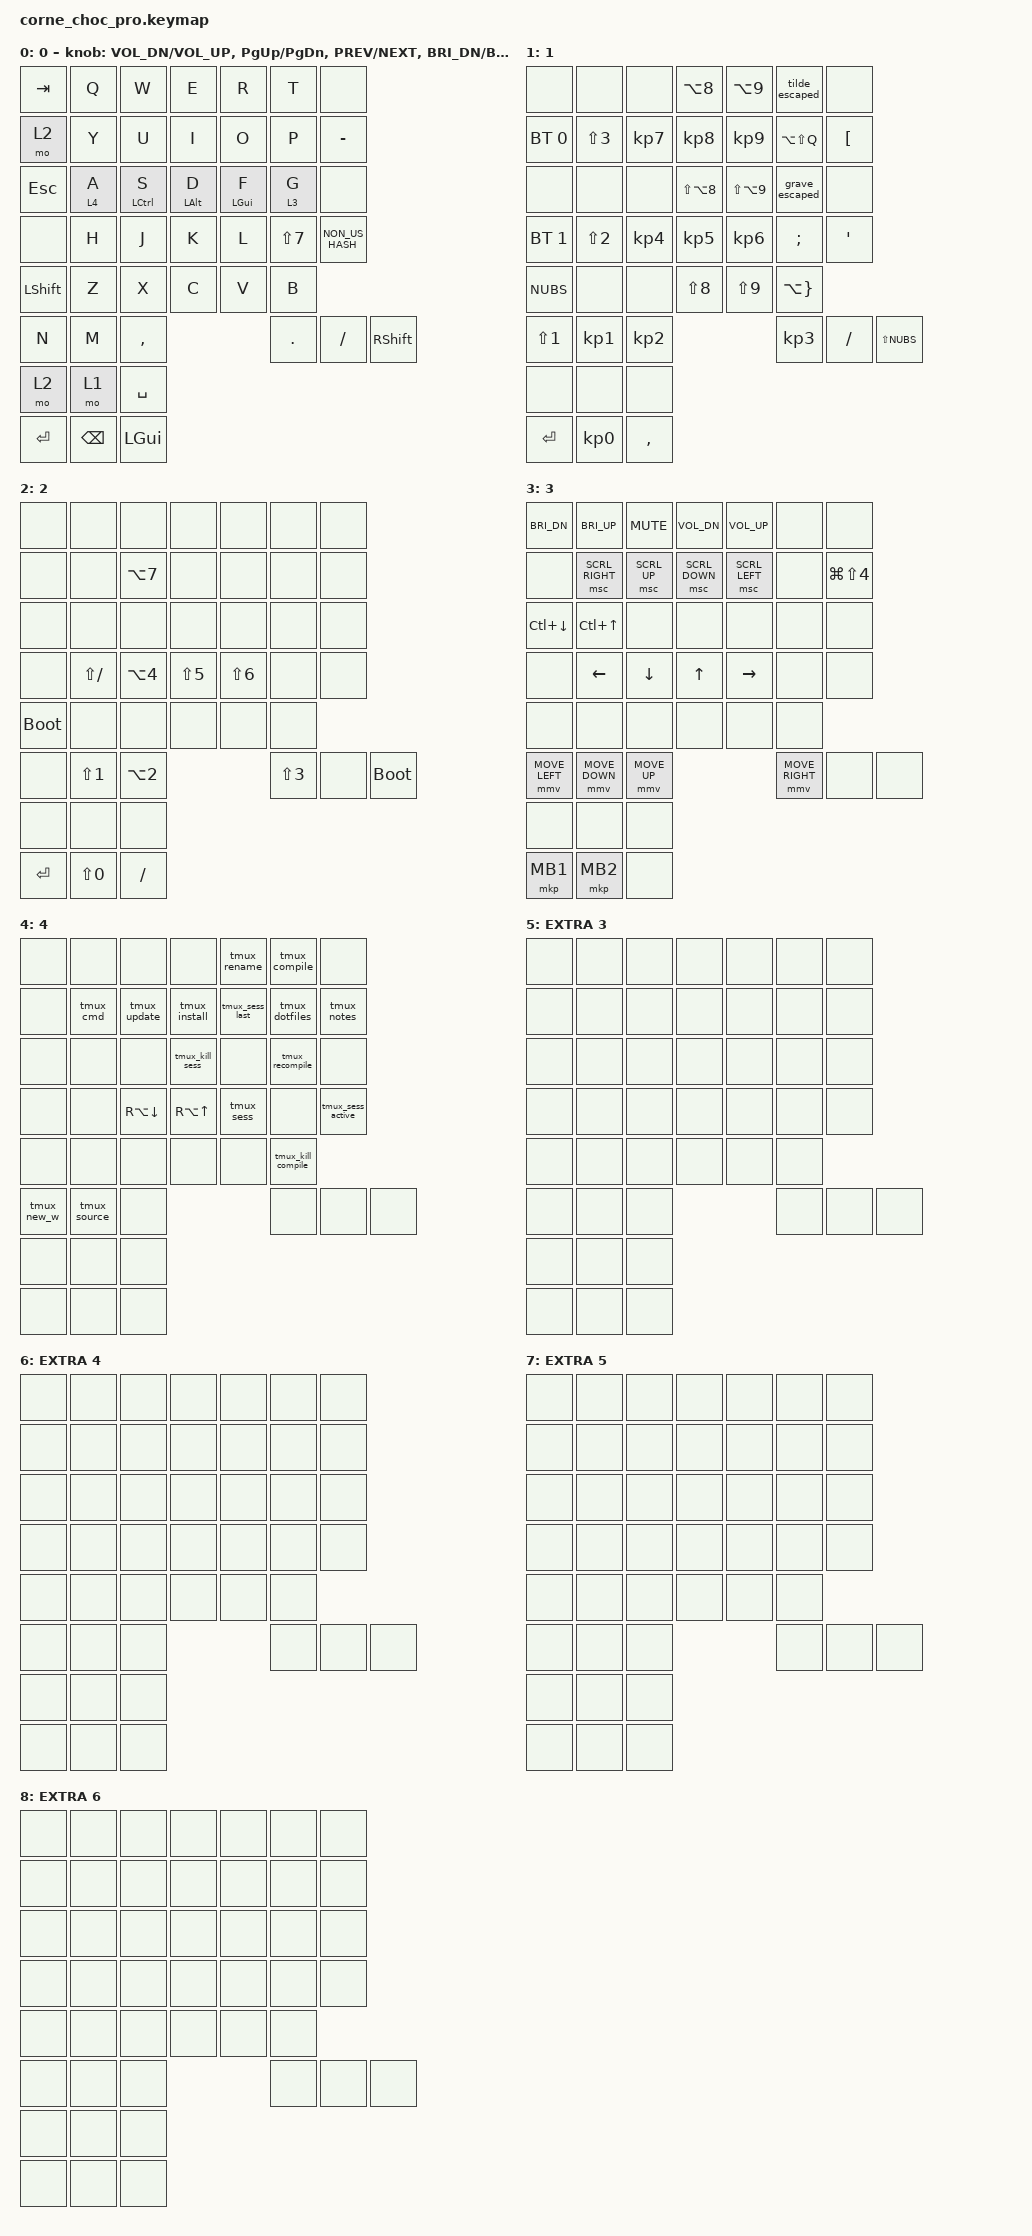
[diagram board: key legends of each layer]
/*
 * Copyright (c) 2020 The ZMK Contributors
 *
 * SPDX-License-Identifier: MIT
 */

#define ZMK_POINTING_DEFAULT_MOVE_VAL 3000  // default: 600
#define ZMK_POINTING_DEFAULT_SCRL_VAL 15    // default: 10

#include "keys_sv.h"

#include <behaviors.dtsi>
#include <dt-bindings/zmk/bt.h>
#include <dt-bindings/zmk/keys.h>
#include <dt-bindings/zmk/rgb.h>
#include <dt-bindings/zmk/pointing.h>

&mmv {
    x-input-code = <INPUT_REL_X>;
    y-input-code = <INPUT_REL_Y>;
    time-to-max-speed-ms = <350>;
    acceleration-exponent = <2>;
};

&msc {
    x-input-code = <INPUT_REL_HWHEEL>;
    y-input-code = <INPUT_REL_WHEEL>;
    time-to-max-speed-ms = <0>;
    acceleration-exponent = <2>;
};

/ {
    chosen { zmk,physical-layout = &default_layout; };

    behaviors {
        hrm: home_row_mod {
            compatible = "zmk,behavior-hold-tap";
            #binding-cells = <2>;
            flavor = "tap-preferred";
            require-prior-idle-ms = <150>;
            tapping-term-ms = <200>;
            quick-tap-ms = <160>;
            bindings = <&kp>, <&kp>;
        };
        /* hold-trigger-on-release; */

        hrl: home_row_layer {
            compatible = "zmk,behavior-hold-tap";
            #binding-cells = <2>;
            flavor = "tap-preferred";
            require-prior-idle-ms = <150>;
            tapping-term-ms = <200>;
            quick-tap-ms = <160>;
            bindings = <&mo>, <&kp>;
        };
    };

    macros {
        tilde_escaped: tilde_escaped {
            compatible = "zmk,behavior-macro";
            #binding-cells = <0>;
            bindings
                = <&macro_tap &kp SV_TILDE>
                , <&macro_tap &kp SPACE>
                ;
        };
        grave_escaped: grave_escaped {
            compatible = "zmk,behavior-macro";
            #binding-cells = <0>;
            bindings
                = <&macro_tap &kp SV_GRAVE>
                , <&macro_wait_time 10>
                , <&macro_tap &kp SPACE>
                ;
        };

        tmux_source: tmux_source {
            compatible = "zmk,behavior-macro";
            #binding-cells = <0>;
            bindings
                = <&macro_press &kp LCTRL>
                , <&macro_tap &kp F>
                , <&macro_release &kp LCTRL>
                , <&macro_tap &kp LS(R)>
                ;
        };

        tmux_new_w: tmux_new_w {
            compatible = "zmk,behavior-macro";
            #binding-cells = <0>;
            bindings
                = <&macro_press &kp LCTRL>
                , <&macro_tap &kp F>
                , <&macro_release &kp LCTRL>
                , <&macro_tap &kp N>
                ;
        };


        tmux_install: tmux_install {
            compatible = "zmk,behavior-macro";
            #binding-cells = <0>;
            bindings
                = <&macro_press &kp LCTRL>
                , <&macro_tap &kp F>
                , <&macro_release &kp LCTRL>
                , <&macro_tap &kp LS(I)>
                ;
        };

        tmux_update: tmux_update {
            compatible = "zmk,behavior-macro";
            #binding-cells = <0>;
            bindings
                = <&macro_press &kp LCTRL>
                , <&macro_tap &kp F>
                , <&macro_release &kp LCTRL>
                , <&macro_tap &kp LS(U)>
                ;
        };

        tmux_rename: tmux_rename {
            compatible = "zmk,behavior-macro";
            #binding-cells = <0>;
            bindings
                = <&macro_press &kp LCTRL>
                , <&macro_tap &kp F>
                , <&macro_release &kp LCTRL>
                , <&macro_tap &kp R>
                ;
        };

        tmux_kill_sess: tmux_kill_sess {
            compatible = "zmk,behavior-macro";
            #binding-cells = <0>;
            bindings
                = <&macro_press &kp LCTRL>
                , <&macro_tap &kp F>
                , <&macro_release &kp LCTRL>
                , <&macro_tap &kp D>
                ;
        };

        tmux_cmd: tmux_cmd {
            compatible = "zmk,behavior-macro";
            #binding-cells = <0>;
            bindings
                = <&macro_press &kp LCTRL>
                , <&macro_tap &kp F>
                , <&macro_release &kp LCTRL>
                , <&macro_tap &kp LS(DOT)>
                ;
        };

        tmux_notes: tmux_notes {
            compatible = "zmk,behavior-macro";
            #binding-cells = <0>;
            bindings
                = <&macro_press &kp LCTRL>
                , <&macro_tap &kp F>
                , <&macro_release &kp LCTRL>
                , <&macro_tap &kp MINUS>
                ;
        };

        tmux_dotfiles: tmux_dotfiles {
            compatible = "zmk,behavior-macro";
            #binding-cells = <0>;
            bindings
                = <&macro_press &kp LCTRL>
                , <&macro_tap &kp F>
                , <&macro_release &kp LCTRL>
                , <&macro_tap &kp P>
                ;
        };

        tmux_sess: tmux_sess{
            compatible = "zmk,behavior-macro";
            #binding-cells = <0>;
            bindings
                = <&macro_press &kp LCTRL>
                , <&macro_tap &kp F>
                , <&macro_release &kp LCTRL>
                , <&macro_tap &kp LS(L)>
                ;
        };

        tmux_sess_active: tmux_sess_active {
            compatible = "zmk,behavior-macro";
            #binding-cells = <0>;
            bindings
                = <&macro_press &kp LCTRL>
                , <&macro_tap &kp F>
                , <&macro_release &kp LCTRL>
                , <&macro_tap &kp LS(NON_US_HASH)>
                ;
        };

        tmux_sess_last: tmux_sess_last {
            compatible = "zmk,behavior-macro";
            #binding-cells = <0>;
            bindings
                = <&macro_press &kp LCTRL>
                , <&macro_tap &kp F>
                , <&macro_release &kp LCTRL>
                , <&macro_tap &kp O>
                ;
        };

        tmux_compile: tmux_compile {
            compatible = "zmk,behavior-macro";
            #binding-cells = <0>;
            bindings
                = <&macro_press &kp LCTRL>
                , <&macro_tap &kp F>
                , <&macro_release &kp LCTRL>
                , <&macro_press &kp LCTRL>
                , <&macro_tap &kp B>
                , <&macro_release &kp LCTRL>
                ;
        };

        tmux_recompile: tmux_recompile {
            compatible = "zmk,behavior-macro";
            #binding-cells = <0>;
            bindings
                = <&macro_press &kp LCTRL>
                , <&macro_tap &kp F>
                , <&macro_release &kp LCTRL>
                , <&macro_press &kp LCTRL>
                , <&macro_tap &kp R>
                , <&macro_release &kp LCTRL>
                ;
        };

        tmux_kill_compile: tmux_kill_compile {
            compatible = "zmk,behavior-macro";
            #binding-cells = <0>;
            bindings
                = <&macro_press &kp LCTRL>
                , <&macro_tap &kp F>
                , <&macro_release &kp LCTRL>
                , <&macro_press &kp LCTRL>
                , <&macro_tap &kp K>
                , <&macro_release &kp LCTRL>
                ;
        };

    };
};

/ {
    keymap {
        compatible = "zmk,keymap";

        layer0 {
            display-name = "0";

/*
---------------------------------------------------------------------------------------
|  TAB |  Q  |  W  |  E  |  R  |  T  |           none || LT2  | Y | U | I | O | P | + |
| ESC | A/lt4 | S/CTRL | D/ALT | F/GUI | G/LT3 | none || none | H | J | K | L | / | ' |
| SHFT |  Z  |  X  |  C  |  V  |  B  |    |           ||  N | M | , | . | - | RSHIFT  |
                                   | LT2 | LT1 | SPC  ||  ENT || BSPC  | LGUI |
*/

            bindings = <
                // Left side row 1
                &kp TAB  &kp Q  &kp W  &kp E  &kp R  &kp T  &none 
                // right side row 1
                &mo 2  &kp Y    &kp U  &kp I      &kp O    &kp P     &kp MINUS
                // Left side row 2
                &kp ESC  &hrl 4 A  &hrm LCTRL S  &hrm LALT D &hrm LGUI F &hrl 3 G &none
                // Right side row 2
                &none  &kp H    &kp J  &kp K &kp L &kp LS(N7) &kp NON_US_HASH
                // Left side row 3
                &kp LSHFT  &kp Z  &kp X  &kp C  &kp V  &kp B
                // Right side row 3
                &kp N    &kp M  &kp COMMA  &kp DOT  &kp SLASH  &kp RSHIFT
                // Left thumb
                &mo 2  &mo 1  &kp SPACE                        
                // Right thumb
                &kp RET  &kp BSPC  &kp LGUI
            >;

            sensor-bindings = <&inc_dec_kp C_VOL_DN C_VOL_UP &inc_dec_kp PG_UP PG_DN &inc_dec_kp C_PREV C_NEXT &inc_dec_kp C_BRI_DN C_BRI_UP>;
        };

        layer1 {
            display-name = "1";
/*
------|------|------|---|---|--------|-------||-------|----|-------|----------|-------|------|-------|
 none | none | none | [ | ] | ~   |> none || bt0 <| #  | 7 | 8 | 9 | °    | Å
 none | none | none | { | } | `   |> none || bt1 <| "  | 4 | 5 | 6 | Ö    | Ä
 <   | none | none | ( | )  | ^   |       ||       | !  | 1 | 2 | 3 | none | >
      |      |      |     none | none | none ||   RET | 0 | , |
 -----|------|------|------|------|-------|--||-------|-------|----------------------|-------|
*/
            bindings = <
                // Left side row 1
                &none  &none  &none  &kp LA(N8)  &kp LA(N9) &tilde_escaped &none
                // right side row 1
                &bt BT_SEL 0  &kp LS(N3)  &kp KP_N7  &kp KP_N8 &kp KP_N9 &kp LA(LS(Q)) &kp LBKT
                // Left side row 2
                &none  &none  &none  &kp LS(LA(N8)) &kp LS(LA(N9)) &grave_escaped &none
                // Right side row 2
                &bt BT_SEL 1  &kp LS(N2) &kp KP_N4  &kp KP_N5 &kp KP_N6 &kp SEMI  &kp SQT
                // Left side row 3
                &kp NUBS  &none  &none  &kp LS(N8)  &kp LS(N9)  &kp LA(RBRC)
                // Right side row 3
                &kp LS(N1) &kp KP_N1  &kp KP_N2  &kp KP_N3  &kp SLASH  &kp LS(NUBS)
                // Left thumb
                &none  &none  &none
                // Right thumb
                &kp RET  &kp KP_N0  &kp COMMA
            >;
        };

        layer2 {
            display-name = "2";

 /*
------|------|------|---|---|--------|-------||-------|----|-------|----------|-------|------|-------|
 none | none | none | none | | none   |> none || none      <| none | '|' | none | none | °    | Å
 none | none | none | none | none | PLUS   |> none || none <| _    | $ | % | & | Ö    | Ä
 BL   | none | none | none | none | none   |       ||       | none | ! | @ | # | none | BL
      |      |      |     none | none | none ||   RET | = | - |
 -----|------|------|------|------|-------|--||-------|-------|----------------------|-------|
*/
            bindings = <
                // Left side row 1
                &none  &none  &none  &none  &none &none  &none 
                // right side row 1
                &none  &none  &kp LA(N7)  &none      &none    &none   &none
                // Left side row 2
                &none  &none  &none  &none &none &none &none
                // Right side row 2
                &none  &kp LS(SLASH)  &kp LA(N4)  &kp LS(N5) &kp LS(N6) &none  &none
                // Left side row 3
                &bootloader  &none  &none  &none  &none  &none
                // Right side row 3
                &none &kp LS(N1)  &kp LA(N2)  &kp LS(N3)  &none &bootloader
                // Left thumb
                &none  &none  &none
                // Right thumb
                &kp RET  &kp LS(N0)  &kp SLASH
            >;
        };

        layer3 {
            display-name = "3";
 /*
------|------|------|---|---|--------|-------||-------|----|-------|----------|-------|------|-------|
 none | none | none | none | | none   |> none || none      <| none | '|' | none | none | °    | Å
 none | none | none | none | none | PLUS   |> none || none <| _    | $ | % | & | Ö    | Ä
 BL   | none | none | none | none | none   |       ||       | none | ! | @ | # | none | BL
      |      |      |     none | none | none ||   RET | = | - |
 -----|------|------|------|------|-------|--||-------|-------|----------------------|-------|
*/

            bindings = <
                // Left side row 1
                &kp C_BRI_DN  &kp C_BRI_UP  &kp K_MUTE &kp K_VOL_DN &kp K_VOL_UP  &none &none
                // right side row 1
                &none &msc SCRL_RIGHT &msc SCRL_UP  &msc SCRL_DOWN  &msc SCRL_LEFT  &none &kp LG(LS(N4))
                // Left side row 2
                &kp LC(DOWN)  &kp LC(UP)  &none  &none &none &none &none
                // Right side row 2
                &none  &kp LEFT  &kp DOWN  &kp UP &kp RIGHT    &none   &none
                // Left side row 3
                &none  &none  &none  &none  &none  &none
                // Right side row 3
                &mmv MOVE_LEFT &mmv MOVE_DOWN  &mmv MOVE_UP  &mmv MOVE_RIGHT  &none &none
                // Left thumb
                &none  &none  &none
                // Right thumb
                &mkp MB1 &mkp MB2  &none
            >;
        };

        layer4 {
            display-name = "4";
 /*
------|------|------|---|---|--------|-------||-------|----|-------|----------|-------|------|-------|
 none | none | none | none | | none   |> none || none      <| none | '|' | none | none | °    | Å
 none | none | none | none | none | PLUS   |> none || none <| _    | $ | % | & | Ö    | Ä
 BL   | none | none | none | none | none   |       ||       | none | ! | @ | # | none | BL
      |      |      |     none | none | none ||   RET | = | - |
 -----|------|------|------|------|-------|--||-------|-------|----------------------|-------|
*/

            bindings = <
                // Left side row 1
                &none  &none  &none  &none  &tmux_rename &tmux_compile  &none 
                // right side row 1
                &none  &tmux_cmd  &tmux_update &tmux_install &tmux_sess_last &tmux_dotfiles &tmux_notes
                // Left side row 2
                &none  &none  &none  &tmux_kill_sess &none &tmux_recompile &none
                // Right side row 2
                &none  &none  &kp RA(DOWN) &kp RA(UP) &tmux_sess &none  &tmux_sess_active
                // Left side row 3
                &none  &none  &none  &none  &none  &tmux_kill_compile
                // Right side row 3
                &tmux_new_w &tmux_source  &none  &none  &none &none 
                // Left thumb
                &none  &none  &none
                // Right thumb
                &none  &none  &none
            >;
        };

        extra_layer_3 {
            display-name = "EXTRA 3";
            bindings = <
&none  &none  &none  &none  &none  &none  &none  &none  &none  &none  &none  &none  &none  &none
&none  &none  &none  &none  &none  &none  &none  &none  &none  &none  &none  &none  &none  &none
&none  &none  &none  &none  &none  &none                  &none  &none  &none  &none  &none  &none
                        &none  &none  &none                  &none  &none  &none
            >;
        };

        extra_layer_4 {
            display-name = "EXTRA 4";
            bindings = <
&none  &none  &none  &none  &none  &none  &none  &none  &none  &none  &none  &none  &none  &none
&none  &none  &none  &none  &none  &none  &none  &none  &none  &none  &none  &none  &none  &none
&none  &none  &none  &none  &none  &none                  &none  &none  &none  &none  &none  &none
                        &none  &none  &none                  &none  &none  &none
            >;
        };

        extra_layer_5 {
            display-name = "EXTRA 5";
            bindings = <
&none  &none  &none  &none  &none  &none  &none  &none  &none  &none  &none  &none  &none  &none
&none  &none  &none  &none  &none  &none  &none  &none  &none  &none  &none  &none  &none  &none
&none  &none  &none  &none  &none  &none                  &none  &none  &none  &none  &none  &none
                        &none  &none  &none                  &none  &none  &none
            >;
        };

        extra_layer_6 {
            display-name = "EXTRA 6";
            bindings = <
&none  &none  &none  &none  &none  &none  &none  &none  &none  &none  &none  &none  &none  &none
&none  &none  &none  &none  &none  &none  &none  &none  &none  &none  &none  &none  &none  &none
&none  &none  &none  &none  &none  &none                  &none  &none  &none  &none  &none  &none
                        &none  &none  &none                  &none  &none  &none
            >;
        };
    };
};

